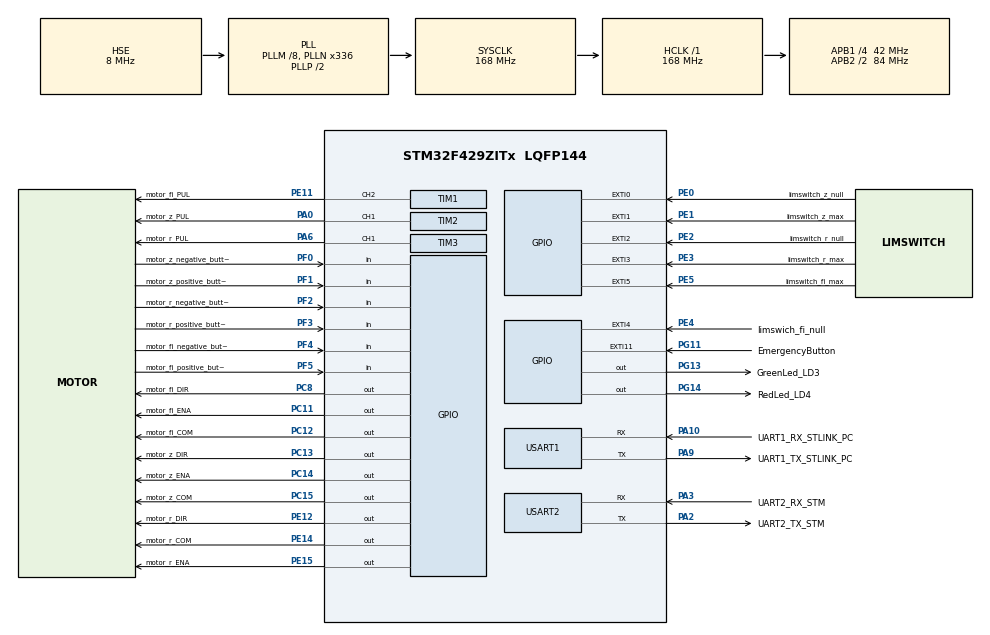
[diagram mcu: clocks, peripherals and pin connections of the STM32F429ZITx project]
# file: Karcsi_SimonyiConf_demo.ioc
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FREERTOS.INCLUDE_vTaskDelayUntil=1
FREERTOS.Queues01=demoMove_positions,15,ToolPosition,0,Dynamic,NULL,NULL
FREERTOS.Tasks01=indicator_blinking,3,256,fc_indicator_blinking,As weak,(&error_byte),Dynamic,NULL,NULL;demoMove,3,2048,fc_demoMove,As weak,(void*)stepperMotors,Dynamic,NULL,NULL
FREERTOS.configCHECK_FOR_STACK_OVERFLOW=2
FREERTOS.configMAX_TASK_NAME_LEN=255
FREERTOS.configTOTAL_HEAP_SIZE=32768
FREERTOS.configUSE_APPLICATION_TASK_TAG=1
FREERTOS.configUSE_COUNTING_SEMAPHORES=1
FREERTOS.configUSE_IDLE_HOOK=1
FREERTOS.configUSE_MALLOC_FAILED_HOOK=1
FREERTOS.configUSE_RECURSIVE_MUTEXES=1
FREERTOS.configUSE_TIMERS=0
Mcu.Family=STM32F4
Mcu.Name=STM32F429ZITx
Mcu.Package=LQFP144
NVIC.EXTI0_IRQn=true\:5\:0\:false\:false\:true\:true\:true\:true\:true
NVIC.EXTI15_10_IRQn=true\:5\:0\:false\:false\:true\:true\:true\:true\:true
NVIC.EXTI1_IRQn=true\:5\:0\:false\:false\:true\:true\:true\:true\:true
NVIC.EXTI2_IRQn=true\:5\:0\:false\:false\:true\:true\:true\:true\:true
NVIC.EXTI3_IRQn=true\:5\:0\:false\:false\:true\:true\:true\:true\:true
NVIC.EXTI4_IRQn=true\:5\:0\:false\:false\:true\:true\:true\:true\:true
NVIC.EXTI9_5_IRQn=true\:5\:0\:false\:false\:true\:true\:true\:true\:true
NVIC.FLASH_IRQn=true\:5\:0\:false\:false\:true\:true\:true\:true\:true
NVIC.FPU_IRQn=true\:5\:0\:true\:false\:true\:true\:true\:false\:true
NVIC.PVD_IRQn=true\:5\:0\:false\:false\:true\:true\:true\:true\:true
NVIC.PriorityGroup=NVIC_PRIORITYGROUP_4
NVIC.RCC_IRQn=true\:5\:0\:false\:false\:true\:true\:true\:false\:true
NVIC.TIM1_BRK_TIM9_IRQn=true\:5\:0\:true\:false\:true\:true\:true\:true\:true
NVIC.TIM1_CC_IRQn=true\:5\:0\:true\:false\:true\:true\:true\:true\:true
NVIC.TIM1_TRG_COM_TIM11_IRQn=true\:5\:0\:true\:false\:true\:true\:true\:true\:true
NVIC.TIM1_UP_TIM10_IRQn=true\:5\:0\:true\:false\:true\:true\:true\:true\:true
NVIC.TIM2_IRQn=true\:5\:0\:true\:false\:true\:true\:true\:true\:true
NVIC.TIM3_IRQn=true\:5\:0\:true\:false\:true\:true\:true\:true\:true
NVIC.TIM6_DAC_IRQn=true\:15\:0\:false\:false\:true\:false\:false\:true\:true
NVIC.TimeBase=TIM6_DAC_IRQn
NVIC.TimeBaseIP=TIM6
NVIC.USART1_IRQn=true\:5\:0\:false\:false\:true\:true\:true\:true\:true
NVIC.USART2_IRQn=true\:5\:0\:false\:false\:true\:true\:true\:true\:true
PA0/WKUP.GPIO_Label=motor_z_PUL
PA0/WKUP.Signal=S_TIM2_CH1_ETR
PA10.GPIO_Label=UART1_RX_STLINK_PC
PA10.Mode=Asynchronous
PA10.Signal=USART1_RX
PA2.GPIO_Label=UART2_TX_STM
PA2.GPIO_Speed=GPIO_SPEED_FREQ_VERY_HIGH
PA2.Mode=Multiprocessor_communication
PA2.Signal=USART2_TX
PA3.GPIO_Label=UART2_RX_STM
PA3.Mode=Multiprocessor_communication
PA3.Signal=USART2_RX
PA6.GPIO_Label=motor_r_PUL
PA6.Signal=S_TIM3_CH1
PA9.GPIO_Label=UART1_TX_STLINK_PC
PA9.Mode=Asynchronous
PA9.Signal=USART1_TX
PC11.GPIO_Label=motor_fi_ENA
PC11.Signal=GPIO_Output
PC12.GPIO_Label=motor_fi_COM
PC12.Signal=GPIO_Output
PC13.GPIO_Label=motor_z_DIR
PC13.Signal=GPIO_Output
PC14/OSC32_IN.GPIO_Label=motor_z_ENA
PC14/OSC32_IN.Signal=GPIO_Output
PC15/OSC32_OUT.GPIO_Label=motor_z_COM
PC15/OSC32_OUT.Signal=GPIO_Output
PC8.GPIO_Label=motor_fi_DIR
PC8.Signal=GPIO_Output
PE0.GPIO_Label=limswitch_z_null
PE0.GPIO_ModeDefaultEXTI=GPIO_MODE_IT_RISING_FALLING
PE0.GPIO_PuPd=GPIO_PULLDOWN
PE0.Signal=GPXTI0
PE1.GPIO_Label=limswitch_z_max
PE1.GPIO_ModeDefaultEXTI=GPIO_MODE_IT_RISING_FALLING
PE1.GPIO_PuPd=GPIO_PULLDOWN
PE1.Signal=GPXTI1
PE11.GPIO_Label=motor_fi_PUL
PE11.GPIO_Speed=GPIO_SPEED_FREQ_HIGH
PE11.Signal=S_TIM1_CH2
PE12.GPIO_Label=motor_r_DIR
PE12.Signal=GPIO_Output
PE14.GPIO_Label=motor_r_COM
PE14.Signal=GPIO_Output
PE15.GPIO_Label=motor_r_ENA
PE15.Signal=GPIO_Output
PE2.GPIO_Label=limswitch_r_null
PE2.GPIO_ModeDefaultEXTI=GPIO_MODE_IT_RISING_FALLING
PE2.GPIO_PuPd=GPIO_PULLDOWN
PE2.Signal=GPXTI2
PE3.GPIO_Label=limswitch_r_max
PE3.GPIO_ModeDefaultEXTI=GPIO_MODE_IT_RISING_FALLING
PE3.GPIO_PuPd=GPIO_PULLDOWN
PE3.Signal=GPXTI3
PE4.GPIO_Label=limswich_fi_null
PE4.GPIO_ModeDefaultEXTI=GPIO_MODE_IT_RISING_FALLING
PE4.GPIO_PuPd=GPIO_PULLDOWN
PE4.Signal=GPXTI4
PE5.GPIO_Label=limswitch_fi_max
PE5.GPIO_ModeDefaultEXTI=GPIO_MODE_IT_RISING_FALLING
PE5.GPIO_PuPd=GPIO_PULLDOWN
PE5.Signal=GPXTI5
PF0.GPIO_Label=motor_z_negative_button
PF0.GPIO_PuPd=GPIO_PULLDOWN
PF0.Signal=GPIO_Input
PF1.GPIO_Label=motor_z_positive_button
PF1.GPIO_PuPd=GPIO_PULLDOWN
PF1.Signal=GPIO_Input
PF2.GPIO_Label=motor_r_negative_button
PF2.GPIO_PuPd=GPIO_PULLDOWN
PF2.Signal=GPIO_Input
PF3.GPIO_Label=motor_r_positive_button
PF3.GPIO_PuPd=GPIO_PULLDOWN
PF3.Signal=GPIO_Input
PF4.GPIO_Label=motor_fi_negative_button
PF4.GPIO_PuPd=GPIO_PULLDOWN
PF4.Signal=GPIO_Input
PF5.GPIO_Label=motor_fi_positive_button
PF5.GPIO_PuPd=GPIO_PULLDOWN
PF5.Signal=GPIO_Input
PG11.GPIO_Label=EmergencyButton
PG11.GPIO_ModeDefaultEXTI=GPIO_MODE_IT_RISING_FALLING
PG11.Signal=GPXTI11
PG13.GPIO_Label=GreenLed_LD3
PG13.GPIO_Mode=GPIO_MODE_OUTPUT_PP
PG13.GPIO_PuPd=GPIO_PULLDOWN
PG13.GPIO_Speed=GPIO_SPEED_FREQ_LOW
PG13.Signal=GPIO_Output
PG14.GPIO_Label=RedLed_LD4
PG14.GPIO_Mode=GPIO_MODE_OUTPUT_PP
PG14.GPIO_PuPd=GPIO_PULLDOWN
PG14.GPIO_Speed=GPIO_SPEED_FREQ_LOW
PG14.Signal=GPIO_Output
PH0/OSC_IN.GPIO_Label=PH0-OSC_IN
PH0/OSC_IN.Mode=HSE-External-Oscillator
PH0/OSC_IN.Signal=RCC_OSC_IN
PH1/OSC_OUT.GPIO_Label=PH1-OSC_OUT
PH1/OSC_OUT.Mode=HSE-External-Oscillator
PH1/OSC_OUT.Signal=RCC_OSC_OUT
ProjectManager.HeapSize=0x200
ProjectManager.StackSize=0x400
ProjectManager.TargetToolchain=STM32CubeIDE
RCC.48MHZClocksFreq_Value=48000000
RCC.AHBFreq_Value=168000000
RCC.APB1CLKDivider=RCC_HCLK_DIV4
RCC.APB1Freq_Value=42000000
RCC.APB1TimFreq_Value=84000000
RCC.APB2CLKDivider=RCC_HCLK_DIV2
RCC.APB2Freq_Value=84000000
RCC.APB2TimFreq_Value=168000000
RCC.CortexFreq_Value=168000000
RCC.HCLKFreq_Value=168000000
RCC.HSE_VALUE=8000000
RCC.HSI_VALUE=16000000
RCC.LSE_VALUE=32768
RCC.PLLM=8
RCC.PLLN=336
RCC.PLLQ=7
RCC.PLLSAIN=50
RCC.PLLSourceVirtual=RCC_PLLSOURCE_HSE
RCC.SYSCLKFreq_VALUE=168000000
RCC.SYSCLKSource=RCC_SYSCLKSOURCE_PLLCLK
RCC.VCOOutputFreq_Value=336000000
SH.S_TIM1_CH2.0=TIM1_CH2,PWM Generation2 CH2
SH.S_TIM2_CH1_ETR.0=TIM2_CH1,PWM Generation1 CH1
SH.S_TIM3_CH1.0=TIM3_CH1,PWM Generation1 CH1
TIM1.Channel-PWM\ Generation2\ CH2=TIM_CHANNEL_2
TIM1.ClockDivision=TIM_CLOCKDIVISION_DIV1
TIM1.CounterMode=TIM_COUNTERMODE_UP
TIM1.OCMode_PWM-PWM\ Generation2\ CH2=TIM_OCMODE_PWM2
TIM1.Period=1000-1
TIM1.Prescaler=84-1
TIM1.Pulse-PWM\ Generation2\ CH2=499
TIM1.RepetitionCounter=0
TIM1.TIM_MasterOutputTrigger=TIM_TRGO_RESET
TIM2.Channel-PWM\ Generation1\ CH1=TIM_CHANNEL_1
TIM2.CounterMode=TIM_COUNTERMODE_UP
TIM2.OCMode_PWM-PWM\ Generation1\ CH1=TIM_OCMODE_PWM2
TIM2.Period=1000-1
TIM2.Prescaler=84-1
TIM2.Pulse-PWM\ Generation1\ CH1=499
TIM2.TIM_MasterOutputTrigger=TIM_TRGO_RESET
TIM3.Channel-PWM\ Generation1\ CH1=TIM_CHANNEL_1
TIM3.OCMode_PWM-PWM\ Generation1\ CH1=TIM_OCMODE_PWM2
TIM3.Period=1000-1
TIM3.Prescaler=168-1
TIM3.Pulse-PWM\ Generation1\ CH1=499
USART1.VirtualMode=VM_ASYNC
USART2.VirtualMode=VM_ASYNC
VP_FREERTOS_VS_CMSIS_V1.Mode=CMSIS_V1
VP_SYS_VS_tim6.Mode=TIM6
VP_TIM1_VS_ClockSourceINT.Mode=Internal
VP_TIM2_VS_ClockSourceINT.Mode=Internal
VP_TIM3_VS_ClockSourceINT.Mode=Internal
board=STM32F429I-DISC1

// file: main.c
/* USER CODE BEGIN Header */
/**
  ******************************************************************************
  * @file           : main.c
  * @brief          : Main program body
  ******************************************************************************
  * @attention
  *
  * Copyright (c) 2023 STMicroelectronics.
  * All rights reserved.
  *
  * This software is licensed under terms that can be found in the LICENSE file
  * in the root directory of this software component.
  * If no LICENSE file comes with this software, it is provided AS-IS.
  *
  ******************************************************************************
  */
/* USER CODE END Header */
#include "main.h"
#include "cmsis_os.h"

/* USER CODE BEGIN Includes */
#include "StepperMotorControll.h"
/* USER CODE END Includes */

/* USER CODE BEGIN PD */
//Defines for indexing limit_switches array
#define fi_max 1
#define fi_null 2
#define z_max 3
#define z_null 4
#define r_max 5
#define r_null 6
/* USER CODE END PD */

TIM_HandleTypeDef htim1;
TIM_HandleTypeDef htim2;
TIM_HandleTypeDef htim3;

UART_HandleTypeDef huart1;
UART_HandleTypeDef huart2;

osThreadId indicator_blinkingHandle;
osThreadId demoMoveHandle;
osMessageQId demoMove_positionsHandle;
/* USER CODE BEGIN PV */
//Array that contains the motor structs, offers easy acccess to motor variables
static StepperMotor stepperMotors[NUMBER_OF_MOTORS];

/*
 * Pinstates of the limit switches
 * The @limit_switches array must contain 6 element:
 * limit_switches[0] : NOT IN USE
 * limit_switches[1] : FI axis' maximal positive excursion (rotated all the way clockwise)
 * limit_switches[2] : FI axis' zero point (when the arm is rotated all the way counter-clockwise)
 * limit_switches[3] : Z axis' maximal positiv excursion (upper sitch)
 * limit_switches[4] : Z axis' zero point (lower switch)
 * limit_switches[5] : R axis' maximal positive excursion (the arm reaches the furthest)
 * limit_switches[6] : R axis' zero ponit (when the arm is fully retracted)
 */
static GPIO_PinState limit_switches[7];

static ToolPosition current_position;

//Controlling Task output
static uint8_t error_byte = 0;

//It's true, if the homing has already run. Zero if homing is still needed.
static uint8_t homing_state = 0;

//Positions for Simonyi conference demo program
const ToolPosition Pos1 = (ToolPosition){.fi = 0, .z = 0, .r = 0};
const ToolPosition Pos2 = (ToolPosition){.fi = 4000, .z = 1000, .r = 400};
const ToolPosition Pos3 = (ToolPosition){.fi = 9000, .z = 3000, .r = 0};
const ToolPosition Pos4 = (ToolPosition){.fi = 13874, .z = 5000, .r = 900};
const ToolPosition Pos5 = (ToolPosition){.fi = 6000, .z = 2000, .r = 200};
const ToolPosition Pos15 = Pos1;
/* USER CODE END PV */

void SystemClock_Config(void);
static void MX_GPIO_Init(void);
static void MX_USART1_UART_Init(void);
static void MX_TIM1_Init(void);
static void MX_USART2_UART_Init(void);
static void MX_TIM2_Init(void);
static void MX_TIM3_Init(void);
void fc_indicator_blinking(void const * argument);
void fc_demoMove(void const * argument);

int main(void)
{

  /* MCU Configuration--------------------------------------------------------*/

  /* Reset of all peripherals, Initializes the Flash interface and the Systick. */
  HAL_Init();

  /* Configure the system clock */
  SystemClock_Config();

  /* Initialize all configured peripherals */
  MX_GPIO_Init();
  MX_USART1_UART_Init();
  MX_TIM1_Init();
  MX_USART2_UART_Init();
  MX_TIM2_Init();
  MX_TIM3_Init();

  /* Create the queue(s) */
  /* definition and creation of demoMove_positions */
  osMessageQDef(demoMove_positions, 15, ToolPosition);
  demoMove_positionsHandle = osMessageCreate(osMessageQ(demoMove_positions), NULL);

  /* USER CODE BEGIN RTOS_QUEUES */
  xQueueSend(demoMove_positionsHandle, (void*)&Pos1, 0);
  xQueueSend(demoMove_positionsHandle, (void*)&Pos2, 0);
  xQueueSend(demoMove_positionsHandle, (void*)&Pos3, 0);
  xQueueSend(demoMove_positionsHandle, (void*)&Pos4, 0);
  xQueueSend(demoMove_positionsHandle, (void*)&Pos5, 0);
  xQueueSend(demoMove_positionsHandle, (void*)&Pos15, 0);

  /* USER CODE END RTOS_QUEUES */

  /* Create the thread(s) */
  /* definition and creation of indicator_blinking */
  osThreadDef(indicator_blinking, fc_indicator_blinking, osPriorityRealtime, 0, 256);
  indicator_blinkingHandle = osThreadCreate(osThread(indicator_blinking), (void*) (&error_byte));

  /* definition and creation of demoMove */
  osThreadDef(demoMove, fc_demoMove, osPriorityRealtime, 0, 2048);
  demoMoveHandle = osThreadCreate(osThread(demoMove), (void*)stepperMotors);

  /* Start scheduler */
  osKernelStart();

  /* We should never get here as control is now taken by the scheduler */
  /* Infinite loop */
  while (1)
  {

  }
}

void SystemClock_Config(void)
{
  RCC_OscInitTypeDef RCC_OscInitStruct = {0};
  RCC_ClkInitTypeDef RCC_ClkInitStruct = {0};

  /** Configure the main internal regulator output voltage
  */
  __HAL_RCC_PWR_CLK_ENABLE();
  __HAL_PWR_VOLTAGESCALING_CONFIG(PWR_REGULATOR_VOLTAGE_SCALE1);

  /** Initializes the RCC Oscillators according to the specified parameters
  * in the RCC_OscInitTypeDef structure.
  */
  RCC_OscInitStruct.OscillatorType = RCC_OSCILLATORTYPE_HSE;
  RCC_OscInitStruct.HSEState = RCC_HSE_ON;
  RCC_OscInitStruct.PLL.PLLState = RCC_PLL_ON;
  RCC_OscInitStruct.PLL.PLLSource = RCC_PLLSOURCE_HSE;
  RCC_OscInitStruct.PLL.PLLM = 8;
  RCC_OscInitStruct.PLL.PLLN = 336;
  RCC_OscInitStruct.PLL.PLLP = RCC_PLLP_DIV2;
  RCC_OscInitStruct.PLL.PLLQ = 7;
  if (HAL_RCC_OscConfig(&RCC_OscInitStruct) != HAL_OK)
  {
    Error_Handler();
  }

  /** Initializes the CPU, AHB and APB buses clocks
  */
  RCC_ClkInitStruct.ClockType = RCC_CLOCKTYPE_HCLK|RCC_CLOCKTYPE_SYSCLK
                              |RCC_CLOCKTYPE_PCLK1|RCC_CLOCKTYPE_PCLK2;
  RCC_ClkInitStruct.SYSCLKSource = RCC_SYSCLKSOURCE_PLLCLK;
  RCC_ClkInitStruct.AHBCLKDivider = RCC_SYSCLK_DIV1;
  RCC_ClkInitStruct.APB1CLKDivider = RCC_HCLK_DIV4;
  RCC_ClkInitStruct.APB2CLKDivider = RCC_HCLK_DIV2;

  if (HAL_RCC_ClockConfig(&RCC_ClkInitStruct, FLASH_LATENCY_5) != HAL_OK)
  {
    Error_Handler();
  }
}

static void MX_TIM1_Init(void)
{

  TIM_ClockConfigTypeDef sClockSourceConfig = {0};
  TIM_MasterConfigTypeDef sMasterConfig = {0};
  TIM_OC_InitTypeDef sConfigOC = {0};
  TIM_BreakDeadTimeConfigTypeDef sBreakDeadTimeConfig = {0};

  htim1.Instance = TIM1;
  htim1.Init.Prescaler = 84-1;
  htim1.Init.CounterMode = TIM_COUNTERMODE_UP;
  htim1.Init.Period = 1000-1;
  htim1.Init.ClockDivision = TIM_CLOCKDIVISION_DIV1;
  htim1.Init.RepetitionCounter = 0;
  htim1.Init.AutoReloadPreload = TIM_AUTORELOAD_PRELOAD_DISABLE;
  if (HAL_TIM_Base_Init(&htim1) != HAL_OK)
  {
    Error_Handler();
  }
  sClockSourceConfig.ClockSource = TIM_CLOCKSOURCE_INTERNAL;
  if (HAL_TIM_ConfigClockSource(&htim1, &sClockSourceConfig) != HAL_OK)
  {
    Error_Handler();
  }
  if (HAL_TIM_PWM_Init(&htim1) != HAL_OK)
  {
    Error_Handler();
  }
  sMasterConfig.MasterOutputTrigger = TIM_TRGO_RESET;
  sMasterConfig.MasterSlaveMode = TIM_MASTERSLAVEMODE_DISABLE;
  if (HAL_TIMEx_MasterConfigSynchronization(&htim1, &sMasterConfig) != HAL_OK)
  {
    Error_Handler();
  }
  sConfigOC.OCMode = TIM_OCMODE_PWM2;
  sConfigOC.Pulse = 499;
  sConfigOC.OCPolarity = TIM_OCPOLARITY_HIGH;
  sConfigOC.OCNPolarity = TIM_OCNPOLARITY_HIGH;
  sConfigOC.OCFastMode = TIM_OCFAST_DISABLE;
  sConfigOC.OCIdleState = TIM_OCIDLESTATE_RESET;
  sConfigOC.OCNIdleState = TIM_OCNIDLESTATE_RESET;
  if (HAL_TIM_PWM_ConfigChannel(&htim1, &sConfigOC, TIM_CHANNEL_2) != HAL_OK)
  {
    Error_Handler();
  }
  sBreakDeadTimeConfig.OffStateRunMode = TIM_OSSR_DISABLE;
  sBreakDeadTimeConfig.OffStateIDLEMode = TIM_OSSI_DISABLE;
  sBreakDeadTimeConfig.LockLevel = TIM_LOCKLEVEL_OFF;
  sBreakDeadTimeConfig.DeadTime = 0;
  sBreakDeadTimeConfig.BreakState = TIM_BREAK_DISABLE;
  sBreakDeadTimeConfig.BreakPolarity = TIM_BREAKPOLARITY_HIGH;
  sBreakDeadTimeConfig.AutomaticOutput = TIM_AUTOMATICOUTPUT_DISABLE;
  if (HAL_TIMEx_ConfigBreakDeadTime(&htim1, &sBreakDeadTimeConfig) != HAL_OK)
  {
    Error_Handler();
  }
  HAL_TIM_MspPostInit(&htim1);

}

static void MX_TIM2_Init(void)
{

  TIM_ClockConfigTypeDef sClockSourceConfig = {0};
  TIM_MasterConfigTypeDef sMasterConfig = {0};
  TIM_OC_InitTypeDef sConfigOC = {0};

  htim2.Instance = TIM2;
  htim2.Init.Prescaler = 84-1;
  htim2.Init.CounterMode = TIM_COUNTERMODE_UP;
  htim2.Init.Period = 1000-1;
  htim2.Init.ClockDivision = TIM_CLOCKDIVISION_DIV1;
  htim2.Init.AutoReloadPreload = TIM_AUTORELOAD_PRELOAD_DISABLE;
  if (HAL_TIM_Base_Init(&htim2) != HAL_OK)
  {
    Error_Handler();
  }
  sClockSourceConfig.ClockSource = TIM_CLOCKSOURCE_INTERNAL;
  if (HAL_TIM_ConfigClockSource(&htim2, &sClockSourceConfig) != HAL_OK)
  {
    Error_Handler();
  }
  if (HAL_TIM_PWM_Init(&htim2) != HAL_OK)
  {
    Error_Handler();
  }
  sMasterConfig.MasterOutputTrigger = TIM_TRGO_RESET;
  sMasterConfig.MasterSlaveMode = TIM_MASTERSLAVEMODE_DISABLE;
  if (HAL_TIMEx_MasterConfigSynchronization(&htim2, &sMasterConfig) != HAL_OK)
  {
    Error_Handler();
  }
  sConfigOC.OCMode = TIM_OCMODE_PWM2;
  sConfigOC.Pulse = 499;
  sConfigOC.OCPolarity = TIM_OCPOLARITY_HIGH;
  sConfigOC.OCFastMode = TIM_OCFAST_DISABLE;
  if (HAL_TIM_PWM_ConfigChannel(&htim2, &sConfigOC, TIM_CHANNEL_1) != HAL_OK)
  {
    Error_Handler();
  }
  HAL_TIM_MspPostInit(&htim2);

}

static void MX_TIM3_Init(void)
{

  TIM_ClockConfigTypeDef sClockSourceConfig = {0};
  TIM_MasterConfigTypeDef sMasterConfig = {0};
  TIM_OC_InitTypeDef sConfigOC = {0};

  htim3.Instance = TIM3;
  htim3.Init.Prescaler = 168-1;
  htim3.Init.CounterMode = TIM_COUNTERMODE_UP;
  htim3.Init.Period = 1000-1;
  htim3.Init.ClockDivision = TIM_CLOCKDIVISION_DIV1;
  htim3.Init.AutoReloadPreload = TIM_AUTORELOAD_PRELOAD_DISABLE;
  if (HAL_TIM_Base_Init(&htim3) != HAL_OK)
  {
    Error_Handler();
  }
  sClockSourceConfig.ClockSource = TIM_CLOCKSOURCE_INTERNAL;
  if (HAL_TIM_ConfigClockSource(&htim3, &sClockSourceConfig) != HAL_OK)
  {
    Error_Handler();
  }
  if (HAL_TIM_PWM_Init(&htim3) != HAL_OK)
  {
    Error_Handler();
  }
  sMasterConfig.MasterOutputTrigger = TIM_TRGO_RESET;
  sMasterConfig.MasterSlaveMode = TIM_MASTERSLAVEMODE_DISABLE;
  if (HAL_TIMEx_MasterConfigSynchronization(&htim3, &sMasterConfig) != HAL_OK)
  {
    Error_Handler();
  }
  sConfigOC.OCMode = TIM_OCMODE_PWM2;
  sConfigOC.Pulse = 499;
  sConfigOC.OCPolarity = TIM_OCPOLARITY_HIGH;
  sConfigOC.OCFastMode = TIM_OCFAST_DISABLE;
  if (HAL_TIM_PWM_ConfigChannel(&htim3, &sConfigOC, TIM_CHANNEL_1) != HAL_OK)
  {
    Error_Handler();
  }
  HAL_TIM_MspPostInit(&htim3);

}

static void MX_USART1_UART_Init(void)
{

  huart1.Instance = USART1;
  huart1.Init.BaudRate = 115200;
  huart1.Init.WordLength = UART_WORDLENGTH_8B;
  huart1.Init.StopBits = UART_STOPBITS_1;
  huart1.Init.Parity = UART_PARITY_NONE;
  huart1.Init.Mode = UART_MODE_TX_RX;
  huart1.Init.HwFlowCtl = UART_HWCONTROL_NONE;
  huart1.Init.OverSampling = UART_OVERSAMPLING_16;
  if (HAL_UART_Init(&huart1) != HAL_OK)
  {
    Error_Handler();
  }

}

static void MX_USART2_UART_Init(void)
{

  huart2.Instance = USART2;
  huart2.Init.BaudRate = 115200;
  huart2.Init.WordLength = UART_WORDLENGTH_8B;
  huart2.Init.StopBits = UART_STOPBITS_1;
  huart2.Init.Parity = UART_PARITY_NONE;
  huart2.Init.Mode = UART_MODE_TX_RX;
  huart2.Init.HwFlowCtl = UART_HWCONTROL_NONE;
  huart2.Init.OverSampling = UART_OVERSAMPLING_16;
  if (HAL_MultiProcessor_Init(&huart2, 0, UART_WAKEUPMETHOD_IDLELINE) != HAL_OK)
  {
    Error_Handler();
  }

}

static void MX_GPIO_Init(void)
{
  GPIO_InitTypeDef GPIO_InitStruct = {0};

  /* GPIO Ports Clock Enable */
  __HAL_RCC_GPIOE_CLK_ENABLE();
  __HAL_RCC_GPIOC_CLK_ENABLE();
  __HAL_RCC_GPIOF_CLK_ENABLE();
  __HAL_RCC_GPIOH_CLK_ENABLE();
  __HAL_RCC_GPIOA_CLK_ENABLE();
  __HAL_RCC_GPIOG_CLK_ENABLE();

  /*Configure GPIO pin Output Level */
  HAL_GPIO_WritePin(GPIOC, motor_z_DIR_Pin|motor_z_ENA_Pin|motor_z_COM_Pin|motor_fi_DIR_Pin
                          |motor_fi_ENA_Pin|motor_fi_COM_Pin, GPIO_PIN_RESET);

  /*Configure GPIO pin Output Level */
  HAL_GPIO_WritePin(GPIOE, motor_r_DIR_Pin|motor_r_COM_Pin|motor_r_ENA_Pin, GPIO_PIN_RESET);

  /*Configure GPIO pin Output Level */
  HAL_GPIO_WritePin(GPIOG, GreenLed_LD3_Pin|RedLed_LD4_Pin, GPIO_PIN_RESET);

  /*Configure GPIO pins : limswitch_r_null_Pin limswitch_r_max_Pin limswich_fi_null_Pin limswitch_fi_max_Pin
                           limswitch_z_null_Pin limswitch_z_max_Pin */
  GPIO_InitStruct.Pin = limswitch_r_null_Pin|limswitch_r_max_Pin|limswich_fi_null_Pin|limswitch_fi_max_Pin
                          |limswitch_z_null_Pin|limswitch_z_max_Pin;
  GPIO_InitStruct.Mode = GPIO_MODE_IT_RISING_FALLING;
  GPIO_InitStruct.Pull = GPIO_PULLDOWN;
  HAL_GPIO_Init(GPIOE, &GPIO_InitStruct);

  /*Configure GPIO pins : motor_z_DIR_Pin motor_z_ENA_Pin motor_z_COM_Pin motor_fi_DIR_Pin
                           motor_fi_ENA_Pin motor_fi_COM_Pin */
  GPIO_InitStruct.Pin = motor_z_DIR_Pin|motor_z_ENA_Pin|motor_z_COM_Pin|motor_fi_DIR_Pin
                          |motor_fi_ENA_Pin|motor_fi_COM_Pin;
  GPIO_InitStruct.Mode = GPIO_MODE_OUTPUT_PP;
  GPIO_InitStruct.Pull = GPIO_NOPULL;
  GPIO_InitStruct.Speed = GPIO_SPEED_FREQ_LOW;
  HAL_GPIO_Init(GPIOC, &GPIO_InitStruct);

  /*Configure GPIO pins : motor_z_negative_button_Pin motor_z_positive_button_Pin motor_r_negative_button_Pin motor_r_positive_button_Pin
                           motor_fi_negative_button_Pin motor_fi_positive_button_Pin */
  GPIO_InitStruct.Pin = motor_z_negative_button_Pin|motor_z_positive_button_Pin|motor_r_negative_button_Pin|motor_r_positive_button_Pin
                          |motor_fi_negative_button_Pin|motor_fi_positive_button_Pin;
  GPIO_InitStruct.Mode = GPIO_MODE_INPUT;
  GPIO_InitStruct.Pull = GPIO_PULLDOWN;
  HAL_GPIO_Init(GPIOF, &GPIO_InitStruct);

  /*Configure GPIO pins : motor_r_DIR_Pin motor_r_COM_Pin motor_r_ENA_Pin */
  GPIO_InitStruct.Pin = motor_r_DIR_Pin|motor_r_COM_Pin|motor_r_ENA_Pin;
  GPIO_InitStruct.Mode = GPIO_MODE_OUTPUT_PP;
  GPIO_InitStruct.Pull = GPIO_NOPULL;
  GPIO_InitStruct.Speed = GPIO_SPEED_FREQ_LOW;
  HAL_GPIO_Init(GPIOE, &GPIO_InitStruct);

  /*Configure GPIO pin : EmergencyButton_Pin */
  GPIO_InitStruct.Pin = EmergencyButton_Pin;
  GPIO_InitStruct.Mode = GPIO_MODE_IT_RISING_FALLING;
  GPIO_InitStruct.Pull = GPIO_NOPULL;
  HAL_GPIO_Init(EmergencyButton_GPIO_Port, &GPIO_InitStruct);

  /*Configure GPIO pins : GreenLed_LD3_Pin RedLed_LD4_Pin */
  GPIO_InitStruct.Pin = GreenLed_LD3_Pin|RedLed_LD4_Pin;
  GPIO_InitStruct.Mode = GPIO_MODE_OUTPUT_PP;
  GPIO_InitStruct.Pull = GPIO_PULLDOWN;
  GPIO_InitStruct.Speed = GPIO_SPEED_FREQ_LOW;
  HAL_GPIO_Init(GPIOG, &GPIO_InitStruct);

  /* EXTI interrupt init*/
  HAL_NVIC_SetPriority(EXTI0_IRQn, 5, 0);
  HAL_NVIC_EnableIRQ(EXTI0_IRQn);

  HAL_NVIC_SetPriority(EXTI1_IRQn, 5, 0);
  HAL_NVIC_EnableIRQ(EXTI1_IRQn);

  HAL_NVIC_SetPriority(EXTI2_IRQn, 5, 0);
  HAL_NVIC_EnableIRQ(EXTI2_IRQn);

  HAL_NVIC_SetPriority(EXTI3_IRQn, 5, 0);
  HAL_NVIC_EnableIRQ(EXTI3_IRQn);

  HAL_NVIC_SetPriority(EXTI4_IRQn, 5, 0);
  HAL_NVIC_EnableIRQ(EXTI4_IRQn);

  HAL_NVIC_SetPriority(EXTI9_5_IRQn, 5, 0);
  HAL_NVIC_EnableIRQ(EXTI9_5_IRQn);

  HAL_NVIC_SetPriority(EXTI15_10_IRQn, 5, 0);
  HAL_NVIC_EnableIRQ(EXTI15_10_IRQn);

}

/* USER CODE BEGIN 4 */
/*
 * In case of EXTI, one of the limit switches turn on. To prevent further movement, the axis' motor turns off
 * and @variable current_position is updated.
 */
void HAL_GPIO_EXTI_Callback(uint16_t GPIO_Pin){
	switch (GPIO_Pin){
		case limswitch_z_null_Pin:{
			limit_switches[z_null] = HAL_GPIO_ReadPin(limswitch_z_null_GPIO_Port, limswitch_z_null_Pin);
			if(limit_switches[z_null]){
				current_position.z = 0;
				stepperMotors[MOTOR_Z_ID].allowedDir = MOTORALLOW_POSDIR;
			}
			else{
				stepperMotors[MOTOR_Z_ID].allowedDir = MOTORALLOW_BOTHDIR;
			}
			break;
		}
		case limswitch_z_max_Pin:{
			limit_switches[z_max] = HAL_GPIO_ReadPin(limswitch_z_max_GPIO_Port, limswitch_z_max_Pin);
			if(limit_switches[z_max]){
				current_position.z = MOTOR_Z_MAXPOS;
				stepperMotors[MOTOR_Z_ID].allowedDir = MOTORALLOW_NEGDIR;
			}
			else{
				stepperMotors[MOTOR_Z_ID].allowedDir = MOTORALLOW_BOTHDIR;
			}
			break;
		}
		case limswitch_r_null_Pin:{
			limit_switches[r_null] = HAL_GPIO_ReadPin(limswitch_r_null_GPIO_Port, limswitch_r_null_Pin);
			if(limit_switches[r_null]){
				current_position.r = 0;
				stepperMotors[MOTOR_R_ID].allowedDir = MOTORALLOW_POSDIR;
			}
			else{
				stepperMotors[MOTOR_R_ID].allowedDir = MOTORALLOW_BOTHDIR;
			}
			break;
		}
		case limswitch_r_max_Pin:{
			limit_switches[r_max] = HAL_GPIO_ReadPin(limswitch_r_max_GPIO_Port, limswitch_r_max_Pin);
			if(limit_switches[r_max]){
				current_position.r = MOTOR_R_MAXPOS;
				stepperMotors[MOTOR_R_ID].allowedDir = MOTORALLOW_NEGDIR;
			}
			else{
				stepperMotors[MOTOR_R_ID].allowedDir = MOTORALLOW_BOTHDIR;
			}
			break;
		}
		case limswich_fi_null_Pin:{
			limit_switches[fi_null] = HAL_GPIO_ReadPin(limswich_fi_null_GPIO_Port, limswich_fi_null_Pin);
			if(limit_switches[fi_null]){
				current_position.fi = 0;
				stepperMotors[MOTOR_FI_ID].allowedDir = MOTORALLOW_POSDIR;
			}
			else{
				stepperMotors[MOTOR_FI_ID].allowedDir = MOTORALLOW_BOTHDIR;
			}
			break;
		}
		case limswitch_fi_max_Pin:{
			limit_switches[fi_max] = HAL_GPIO_ReadPin(limswitch_fi_max_GPIO_Port, limswitch_fi_max_Pin);
			if(limit_switches[fi_max]){
				current_position.fi = MOTOR_FI_MAXPOS;
				stepperMotors[MOTOR_FI_ID].allowedDir = MOTORALLOW_NEGDIR;
			}
			else{
				stepperMotors[MOTOR_FI_ID].allowedDir = MOTORALLOW_BOTHDIR;
			}
			break;
		}
	}
}

void HAL_TIM_PWM_PulseFinishedCallback(TIM_HandleTypeDef *htim){
	if(htim->Instance == TIM1) {
		if(MOTORDIR_NEGATIVE == stepperMotors[MOTOR_FI_ID].dir){
		  current_position.fi--;
		}
		else if(MOTORDIR_POSITIVE == stepperMotors[MOTOR_FI_ID].dir){
		  current_position.fi++;
		}
	}
	if(htim->Instance == TIM2) {
		if(MOTORDIR_NEGATIVE == stepperMotors[MOTOR_Z_ID].dir){
		  current_position.z--;
		}
		else if(MOTORDIR_POSITIVE == stepperMotors[MOTOR_Z_ID].dir){
		  current_position.z++;
		}
	}
	if(htim->Instance == TIM3) {
		if(MOTORDIR_NEGATIVE == stepperMotors[MOTOR_R_ID].dir){
		  current_position.r--;
		}
		else if(MOTORDIR_POSITIVE == stepperMotors[MOTOR_R_ID].dir){
		  current_position.r++;
		}
	}
}
/* USER CODE END 4 */

/* USER CODE BEGIN Header_fc_indicator_blinking */
/**
  * @brief  Function implementing the indicator_blinking thread.
  * @param  argument: Not used
  * @retval None
  *
  * This task is only used for debugging.
  * If any of the functions returns with error, the red LED on the board starts blinking.
  * If everything is OK, then a green LED blinks.
  */
/* USER CODE END Header_fc_indicator_blinking */
void fc_indicator_blinking(void const * argument)
{
  /* USER CODE BEGIN 5 */
  /* Infinite loop */
  for(;;)
  {
	  if(error_byte){
		  HAL_GPIO_WritePin(RedLed_LD4_GPIO_Port, RedLed_LD4_Pin, 1);
		  osDelay(200);
		  HAL_GPIO_WritePin(RedLed_LD4_GPIO_Port, RedLed_LD4_Pin, 0);
		  osDelay(200);
	  }
	  else{
		  HAL_GPIO_WritePin(GreenLed_LD3_GPIO_Port, GreenLed_LD3_Pin, 1);
		  osDelay(1000);
		  HAL_GPIO_WritePin(GreenLed_LD3_GPIO_Port, GreenLed_LD3_Pin, 0);
		  osDelay(1000);
	  }
  }
  /* USER CODE END 5 */
}

/* USER CODE BEGIN Header_fc_demoMove */
/**
* @brief Function implementing the demoMove thread.
* @param argument: Pointer to the array of the stepper motors
* @retval None
*
* The task has made for 2023 Simonyi Conference.
* It implements a demo program: the arm moves on a hard-coded route endlessly.
* I tried to desing the rout to stay completely over the table, so people who are passing by won't hit the arm.
* However I strongly recommend to keep an eye on it while it's moving. Dropping Karcsi on the ground wouldn't be so funny :)
*/
/* USER CODE END Header_fc_demoMove */
void fc_demoMove(void const * argument)
{
  /* USER CODE BEGIN fc_demoMove */

	//LIMIT SWITCH INIT --------------------------------------------------------------//
	limit_switches[1] = HAL_GPIO_ReadPin(limswitch_fi_max_GPIO_Port, limswitch_fi_max_Pin);
	limit_switches[2] = HAL_GPIO_ReadPin(limswich_fi_null_GPIO_Port, limswich_fi_null_Pin);
	limit_switches[3] = HAL_GPIO_ReadPin(limswitch_z_max_GPIO_Port, limswitch_z_max_Pin);
	limit_switches[4] = HAL_GPIO_ReadPin(limswitch_z_null_GPIO_Port, limswitch_z_null_Pin);
	limit_switches[5] = HAL_GPIO_ReadPin(limswitch_r_max_GPIO_Port, limswitch_r_max_Pin);
	limit_switches[6] = HAL_GPIO_ReadPin(limswitch_r_null_GPIO_Port, limswitch_r_null_Pin);

	//MOTOR INIT ------------------------------------------------------------------//
	StepperMotor* stepperMotors = (StepperMotor*)argument;
	stepperMotors[MOTOR_FI_ID] = (StepperMotor) {
			.ID = MOTOR_FI_ID,
			.allowedDir = MOTORALLOW_BOTHDIR,
			.motorState = MOTORSTATE_STOPPED,

			.TIM_CH = TIM_CHANNEL_2,	//PE11
			.TIM = &htim1,

			.enablePORT = motor_fi_ENA_GPIO_Port,  //PC11
			.enablePIN = motor_fi_ENA_Pin,

			.dirPORT = motor_fi_DIR_GPIO_Port,	//PC8
			.dirPIN = motor_fi_DIR_Pin,
	};
	stepperMotors[MOTOR_Z_ID] = (StepperMotor) {
			.ID = MOTOR_Z_ID,
			.allowedDir = MOTORALLOW_BOTHDIR,
			.motorState = MOTORSTATE_STOPPED,

			.TIM_CH = TIM_CHANNEL_1,	//PA0
			.TIM = &htim2,

			.enablePORT = motor_z_ENA_GPIO_Port,	//PC14
			.enablePIN = motor_z_ENA_Pin,

			.dirPORT = motor_z_DIR_GPIO_Port,	//PC13
			.dirPIN = motor_z_DIR_Pin,
	};
	stepperMotors[MOTOR_R_ID] = (StepperMotor) {
			.ID = MOTOR_R_ID,
			.allowedDir = MOTORALLOW_BOTHDIR,
			.motorState = MOTORSTATE_STOPPED,

			.TIM_CH = TIM_CHANNEL_1,	//PA6
			.TIM = &htim3,

			.enablePORT = motor_r_ENA_GPIO_Port,  //PE15
			.enablePIN = motor_r_ENA_Pin,

			.dirPORT = motor_r_DIR_GPIO_Port,		//PE12
			.dirPIN = motor_r_DIR_Pin,
	};

	//Set the COM pins to GND
	HAL_GPIO_WritePin(motor_fi_COM_GPIO_Port, motor_fi_COM_Pin, 0);
	HAL_GPIO_WritePin(motor_r_COM_GPIO_Port, motor_r_COM_Pin , 0);
	HAL_GPIO_WritePin(motor_z_COM_GPIO_Port, motor_z_COM_Pin, 0);

	//Enable all motor
	HAL_GPIO_WritePin(stepperMotors[MOTOR_R_ID].enablePORT,stepperMotors[MOTOR_R_ID].enablePIN , 1);	//enable = HIGH
	HAL_GPIO_WritePin(stepperMotors[MOTOR_Z_ID].enablePORT,stepperMotors[MOTOR_Z_ID].enablePIN , 1);	// enable = HIGH
	HAL_GPIO_WritePin(stepperMotors[MOTOR_FI_ID].enablePORT,stepperMotors[MOTOR_FI_ID].enablePIN , 0);  // enable = GND

	HAL_GPIO_WritePin(GreenLed_LD3_GPIO_Port, GreenLed_LD3_Pin, 1);

	//HOMING ----------------------------------------------------------------------------//
		if(!homing_state){
			error_byte = startAllMotor(stepperMotors, MOTORDIR_NEGATIVE);
			//Only run if the arm is not homed
			if(!error_byte){
				uint8_t z = 0, fi = 0, r = 0;
				//waiting untill all of the motors has reached their limit
				while(!(r && fi && z)){
					//FI axis check
					if(GPIO_PIN_SET == limit_switches[fi_null]){
						stopMotor(stepperMotors, MOTOR_FI_ID);
						fi = 1;
					}

					//Z axis check
					if(GPIO_PIN_SET == limit_switches[z_null]){
						stopMotor(stepperMotors, MOTOR_Z_ID);
						z = 1;
					}

					//R axis check
					if(GPIO_PIN_SET == limit_switches[r_null]){
						stopMotor(stepperMotors, MOTOR_R_ID);
						r = 1;
					}
				}
				homing_state = 1;
			}
			else {
				//if there is a problem about the motors, dont do nothing stupid
				for(;;){}
			}
		}

	ToolPosition next_pos = (ToolPosition){.fi = 0, .z = 0, .r = 0};
	uint8_t z = 0, fi = 0, r = 0;
	/* Infinite control loop */
	for(;;)
	{
		if(xQueueReceive(demoMove_positionsHandle, (void*)&next_pos, 1)){

			setAllMotorDirTowardsDesiredPos(stepperMotors, current_position, next_pos);
			startMotor(stepperMotors, MOTOR_FI_ID, stepperMotors[MOTOR_FI_ID].dir);
			startMotor(stepperMotors, MOTOR_R_ID, stepperMotors[MOTOR_R_ID].dir);
			startMotor(stepperMotors, MOTOR_Z_ID, stepperMotors[MOTOR_Z_ID].dir);
			while(!(r && fi && z)){
				if((next_pos.fi == current_position.fi) || (limit_switches[fi_max] && MOTORDIR_POSITIVE == stepperMotors[MOTOR_FI_ID].dir) || (limit_switches[fi_null] && MOTORDIR_NEGATIVE == stepperMotors[MOTOR_FI_ID].dir)){
					stopMotor(stepperMotors, MOTOR_FI_ID);
					fi = 1;
				}
				if((next_pos.z == current_position.z) || (limit_switches[z_max] && MOTORDIR_POSITIVE == stepperMotors[MOTOR_Z_ID].dir) || (limit_switches[z_null] && MOTORDIR_NEGATIVE == stepperMotors[MOTOR_Z_ID].dir)){
					stopMotor(stepperMotors, MOTOR_Z_ID);
					z = 1;
				}
				if((next_pos.r == current_position.r) || (limit_switches[r_max] && MOTORDIR_POSITIVE == stepperMotors[MOTOR_R_ID].dir) || (limit_switches[r_null] && MOTORDIR_NEGATIVE == stepperMotors[MOTOR_R_ID].dir)){
					stopMotor(stepperMotors, MOTOR_R_ID);
					r = 1;
				}
			}
			osDelay(1000);
			r = z = fi = 0;
		}

		 xQueueSend(demoMove_positionsHandle, (void*)&next_pos, 0);
		/* USER CODE END fc_demoMove */
	}
}

void HAL_TIM_PeriodElapsedCallback(TIM_HandleTypeDef *htim)
{
  if (htim->Instance == TIM6) {
    HAL_IncTick();
  }
}

void Error_Handler(void)
{
  __disable_irq();
  while (1)
  {
  }
}
